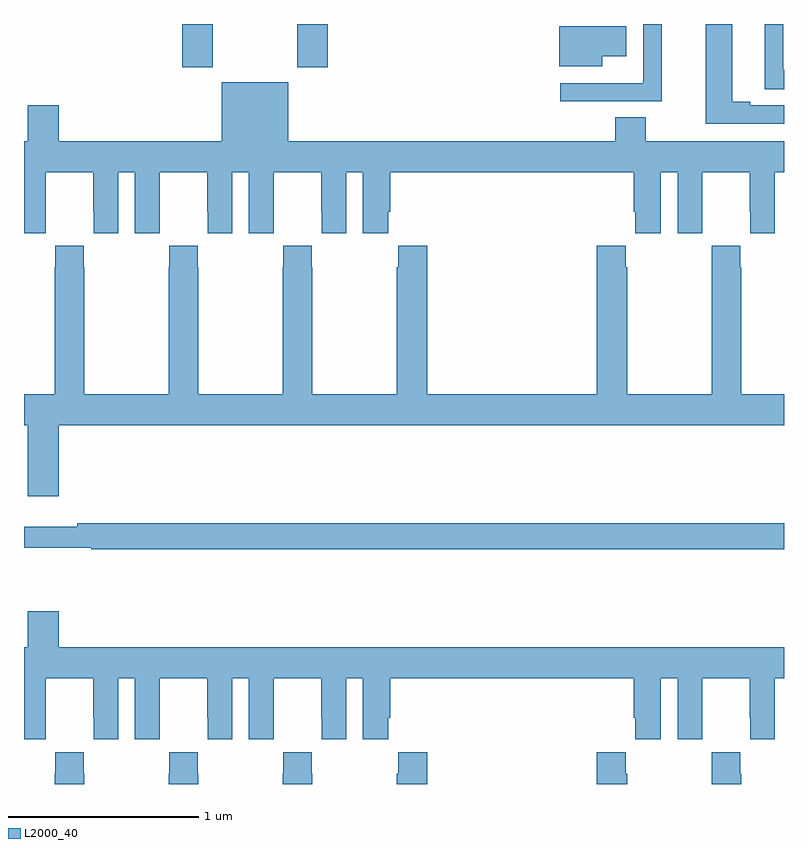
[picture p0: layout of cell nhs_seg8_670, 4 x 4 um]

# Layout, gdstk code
import gdstk
lib = gdstk.Library(unit=1e-6, precision=1e-09)
def R(c, l, rs):  # rectangles x0, y0, x1, y1
    for r in rs: c.add(gdstk.rectangle(r[:2], r[2:], *l))
def P(c, l, *ps):  # polygons
    for p in ps: c.add(gdstk.Polygon(p, *l))
L2000_40 = (2000, 40)

nhs_seg8_670 = lib.new_cell('nhs_seg8_670')
R(nhs_seg8_670, L2000_40, [(153.833,1163.673,153.993,1163.9), (154.438,1163.673,154.598,1163.9)])
P(nhs_seg8_670, L2000_40, [(156.357,1163.9),(156.258,1163.9),(156.258,1163.59),(156.257,1163.59),(156.257,1163.589),(155.823,1163.589),(155.823,1163.493),(156.357,1163.493)],
  [(157,1163.472),(156.823,1163.472),(156.823,1163.492),(156.727,1163.492),(156.727,1163.9),(156.587,1163.9),(156.587,1163.376),(157,1163.376)],
  [(157,1163.658),(156.996,1163.658),(156.996,1163.9),(156.899,1163.9),(156.899,1163.557),(157,1163.557)],
  [(156.043,1163.729),(156.169,1163.729),(156.169,1163.887),(155.816,1163.887),(155.816,1163.678),(156.043,1163.678)],
  [(153.114,1162.912),(153.115,1162.912),(153.115,1163.12),(153.365,1163.12),(153.365,1162.912),(153.366,1162.912),(153.366,1162.8),(153.496,1162.8),(153.496,1163.12),(153.584,1163.12),(153.584,1162.8),(153.714,1162.8),(153.714,1162.912),(153.715,1162.912),(153.715,1163.12),(153.965,1163.12),(153.965,1162.912),(153.966,1162.912),(153.966,1162.8),(154.096,1162.8),(154.096,1163.12),(154.184,1163.12),(154.184,1162.8),(154.314,1162.8),(154.314,1162.912),(154.315,1162.912),(154.315,1163.12),(154.565,1163.12),(154.565,1162.912),(154.566,1162.912),(154.566,1162.8),(154.696,1162.8),(154.696,1163.12),(154.784,1163.12),(154.784,1162.8),(154.918,1162.8),(154.918,1162.912),(154.928,1162.912),(154.928,1163.12),(156.209,1163.12),(156.209,1162.912),(156.218,1162.912),(156.218,1162.8),(156.352,1162.8),(156.352,1163.12),(156.44,1163.12),(156.44,1162.8),(156.57,1162.8),(156.57,1162.912),(156.571,1162.912),(156.571,1163.12),(156.821,1163.12),(156.821,1162.912),(156.822,1162.912),(156.822,1162.8),(156.952,1162.8),(156.952,1163.12),(157,1163.12),(157,1163.284),(156.273,1163.284),(156.273,1163.408),(156.113,1163.408),(156.113,1163.284),(154.39,1163.284),(154.39,1163.593),(154.04,1163.593),(154.04,1163.284),(153.184,1163.284),(153.184,1163.473),(153.02,1163.473),(153.02,1163.284),(153,1163.284),(153,1162.8),(153.114,1162.8)],
  [(153.184,1161.788),(157,1161.788),(157,1161.952),(156.774,1161.952),(156.774,1162.619),(156.771,1162.619),(156.771,1162.732),(156.621,1162.732),(156.621,1162.619),(156.619,1162.619),(156.619,1161.952),(156.174,1161.952),(156.174,1162.619),(156.167,1162.619),(156.167,1162.732),(156.014,1162.732),(156.014,1161.952),(155.123,1161.952),(155.123,1162.732),(154.969,1162.732),(154.969,1162.619),(154.963,1162.619),(154.963,1161.952),(154.518,1161.952),(154.518,1162.619),(154.515,1162.619),(154.515,1162.732),(154.365,1162.732),(154.365,1162.619),(154.363,1162.619),(154.363,1161.952),(153.918,1161.952),(153.918,1162.619),(153.915,1162.619),(153.915,1162.732),(153.765,1162.732),(153.765,1162.619),(153.763,1162.619),(153.763,1161.952),(153.318,1161.952),(153.318,1162.619),(153.315,1162.619),(153.315,1162.732),(153.165,1162.732),(153.165,1162.619),(153.163,1162.619),(153.163,1161.952),(153,1161.952),(153,1161.788),(153.02,1161.788),(153.02,1161.414),(153.184,1161.414)],
  [(157,1161.272),(153.28,1161.272),(153.28,1161.253),(153,1161.253),(153,1161.144),(153.355,1161.144),(153.355,1161.136),(157,1161.136)],
  [(153.114,1160.248),(153.115,1160.248),(153.115,1160.456),(153.365,1160.456),(153.365,1160.248),(153.366,1160.248),(153.366,1160.136),(153.496,1160.136),(153.496,1160.456),(153.584,1160.456),(153.584,1160.136),(153.714,1160.136),(153.714,1160.248),(153.715,1160.248),(153.715,1160.456),(153.965,1160.456),(153.965,1160.248),(153.966,1160.248),(153.966,1160.136),(154.096,1160.136),(154.096,1160.456),(154.184,1160.456),(154.184,1160.136),(154.314,1160.136),(154.314,1160.248),(154.315,1160.248),(154.315,1160.456),(154.565,1160.456),(154.565,1160.248),(154.566,1160.248),(154.566,1160.136),(154.696,1160.136),(154.696,1160.456),(154.784,1160.456),(154.784,1160.136),(154.918,1160.136),(154.918,1160.248),(154.928,1160.248),(154.928,1160.456),(156.209,1160.456),(156.209,1160.248),(156.218,1160.248),(156.218,1160.136),(156.352,1160.136),(156.352,1160.456),(156.44,1160.456),(156.44,1160.136),(156.57,1160.136),(156.57,1160.248),(156.571,1160.248),(156.571,1160.456),(156.821,1160.456),(156.821,1160.248),(156.822,1160.248),(156.822,1160.136),(156.952,1160.136),(156.952,1160.456),(157,1160.456),(157,1160.62),(153.184,1160.62),(153.184,1160.809),(153.02,1160.809),(153.02,1160.62),(153,1160.62),(153,1160.136),(153.114,1160.136)],
  [(155.123,1160.068),(154.969,1160.068),(154.969,1159.955),(154.963,1159.955),(154.963,1159.9),(155.123,1159.9)],
  [(156.174,1159.955),(156.167,1159.955),(156.167,1160.068),(156.014,1160.068),(156.014,1159.9),(156.174,1159.9)],
  [(156.774,1159.955),(156.771,1159.955),(156.771,1160.068),(156.621,1160.068),(156.621,1159.955),(156.619,1159.955),(156.619,1159.9),(156.774,1159.9)],
  [(154.518,1159.955),(154.515,1159.955),(154.515,1160.068),(154.365,1160.068),(154.365,1159.955),(154.363,1159.955),(154.363,1159.9),(154.518,1159.9)],
  [(153.918,1159.955),(153.915,1159.955),(153.915,1160.068),(153.765,1160.068),(153.765,1159.955),(153.763,1159.955),(153.763,1159.9),(153.918,1159.9)],
  [(153.318,1159.955),(153.315,1159.955),(153.315,1160.068),(153.165,1160.068),(153.165,1159.955),(153.163,1159.955),(153.163,1159.9),(153.318,1159.9)])

lib.write_gds('nhs_seg8_670.gds')
